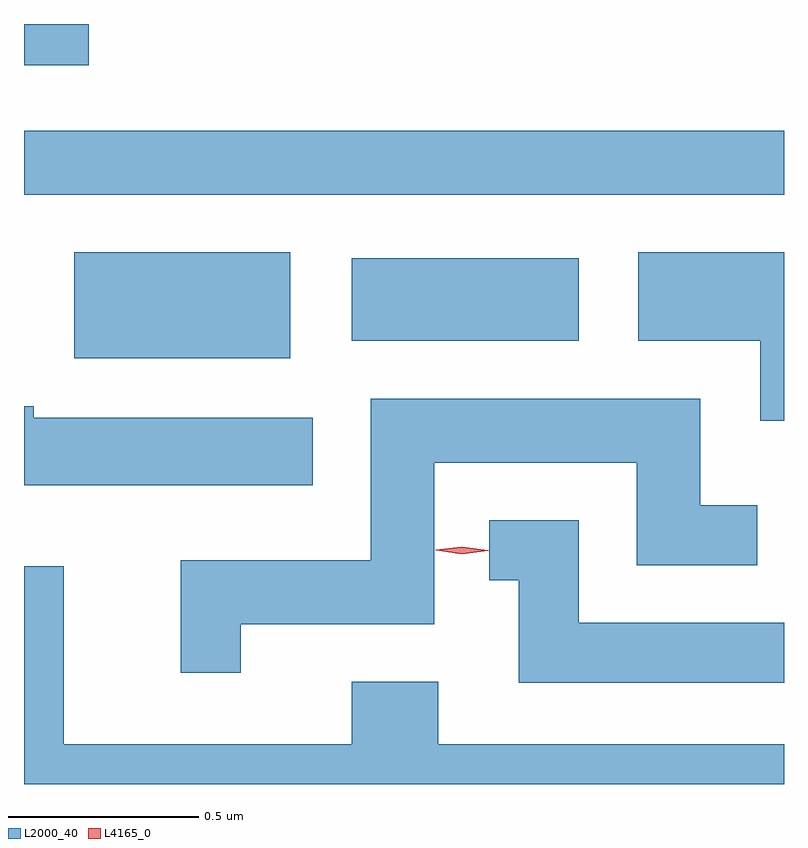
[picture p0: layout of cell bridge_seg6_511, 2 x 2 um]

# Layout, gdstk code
import gdstk
lib = gdstk.Library(unit=1e-6, precision=1e-09)
def R(c, l, rs):  # rectangles x0, y0, x1, y1
    for r in rs: c.add(gdstk.rectangle(r[:2], r[2:], *l))
def P(c, l, *ps):  # polygons
    for p in ps: c.add(gdstk.Polygon(p, *l))
L2000_40 = (2000, 40)
L4165_0 = (4165, 0)

bridge_seg6_511 = lib.new_cell('bridge_seg6_511')
R(bridge_seg6_511, L2000_40, [(805.781,1595.721,806.349,1595.999), (806.511,1595.766,807.109,1595.984), (805.649,1596.151,807.649,1596.319), (805.649,1596.491,805.819,1596.6)])
P(bridge_seg6_511, L2000_40, [(807.649,1595.999),(807.266,1595.999),(807.266,1595.766),(807.586,1595.766),(807.586,1595.556),(807.649,1595.556)],
  [(806.219,1595.021),(806.729,1595.021),(806.729,1595.446),(807.261,1595.446),(807.261,1595.176),(807.578,1595.176),(807.578,1595.334),(807.429,1595.334),(807.429,1595.614),(806.561,1595.614),(806.561,1595.189),(806.061,1595.189),(806.061,1594.893),(806.219,1594.893)],
  [(806.409,1595.564),(805.674,1595.564),(805.674,1595.594),(805.649,1595.594),(805.649,1595.386),(806.409,1595.386)],
  [(807.649,1595.024),(807.109,1595.024),(807.109,1595.294),(806.873,1595.294),(806.873,1595.136),(806.951,1595.136),(806.951,1594.866),(807.649,1594.866)],
  [(807.649,1594.704),(806.739,1594.704),(806.739,1594.869),(806.511,1594.869),(806.511,1594.704),(805.754,1594.704),(805.754,1595.173),(805.649,1595.173),(805.649,1594.6),(807.649,1594.6)])
P(bridge_seg6_511, L4165_0, [(806.801,1595.205),(806.732,1595.215),(806.732,1595.215),(806.732,1595.216),(806.801,1595.225),(806.871,1595.215),(806.871,1595.215),(806.871,1595.214)])

lib.write_gds('bridge_seg6_511.gds')
